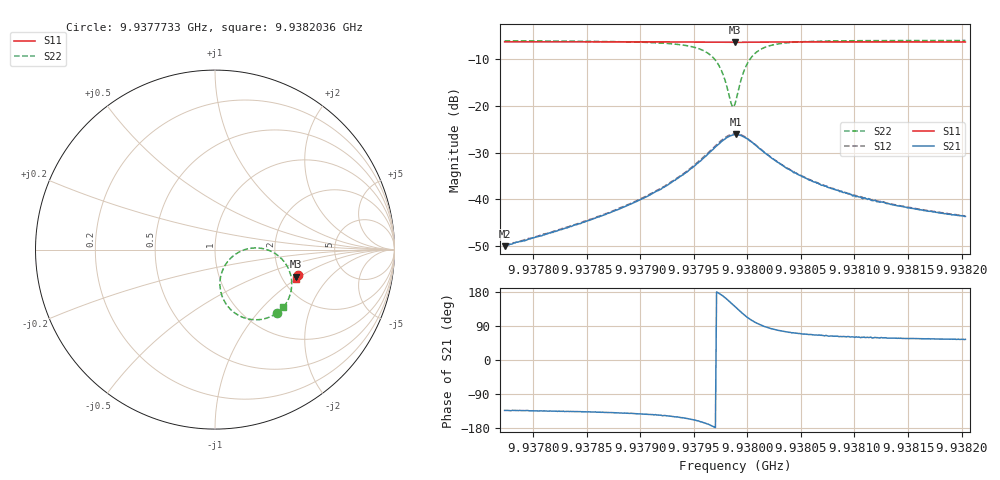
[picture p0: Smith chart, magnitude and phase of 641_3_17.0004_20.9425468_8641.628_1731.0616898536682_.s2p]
#  HZ  S  RI  R  50.00
! Rohde & Schwarz Vector Network Analyzer
! Rohde-Schwarz,ZNB20-2Port,1311601062101988,3.16
! Created: UTC 3/20/2024, 11:20:51 PM
! freq[Hz]  re:S11  im:S11  re:S21  im:S21  re:S12  im:S12  re:S22  im:S22
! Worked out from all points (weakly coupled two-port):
!   401 points, 9.9377733 GHz to 9.9382036 GHz, reference 50 ohm
!   highest |S21| = -26.14 dB at 9.9379895 GHz (marker M1); lowest = -50.0 dB at 9.9377733 GHz (marker M2)
!   lowest |S11| = -6.5 dB at 9.9379884 GHz (marker M3), VSWR 2.81, Z = 119 - j46.3 ohm
!   |S11| at or under -10 dB: nowhere
!   |S22| runs from -20.2 to -6.1 dB; largest |S21 - S12| = 0.0023
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9.93777333e9  0.461 -0.1393  -0.00216 -0.00231  -0.00221 -0.00234  0.3434 -0.354
9.93784539e9  0.459 -0.1443  -0.00409 -0.00386  -0.00418 -0.00384  0.3224 -0.3669
9.93788841e9  0.4577 -0.1474  -0.00667 -0.0055  -0.00683 -0.00551  0.2971 -0.3784
9.93791745e9  0.4564 -0.1495  -0.0103 -0.00711  -0.0106 -0.00705  0.2634 -0.3878
9.93794757e9  0.4546 -0.1519  -0.0197 -0.00852  -0.0201 -0.00829  0.1859 -0.3868
9.93796478e9  0.4527 -0.1529  -0.0315 -0.0049  -0.0323 -0.00436  0.0945 -0.3401
9.93797016e9  0.4519 -0.1529  -0.0363 -0.00101  -0.0373 -0.000159  0.0604 -0.3007
9.93797553e9  0.4511 -0.1525  -0.0409 0.00573  -0.042 0.00703  0.0333 -0.2392
9.93797876e9  0.4507 -0.1522  -0.0424 0.0111  -0.0435 0.0128  0.0274 -0.1913
9.93798521e9  0.4503 -0.1509  -0.0415 0.0246  -0.0418 0.0267  0.0575 -0.0852
9.93798629e9  0.4503 -0.1509  -0.0407 0.0267  -0.0408 0.0288  0.069 -0.0686
9.93798844e9  0.4503 -0.1503  -0.0382 0.0308  -0.0379 0.0331  0.0971 -0.0392
9.93798952e9  0.4505 -0.1502  -0.0368 0.0329  -0.0361 0.035  0.1129 -0.0266
9.93799489e9  0.4514 -0.1496  -0.0267 0.0393  -0.0256 0.041  0.2028 0.00784
9.93799812e9  0.4521 -0.1494  -0.0204 0.0407  -0.0192 0.0422  0.2554 0.00743
9.93800242e9  0.4529 -0.1496  -0.0127 0.04  -0.0115 0.041  0.3138 -0.0102
9.93800888e9  0.4537 -0.1502  -0.00464 0.0366  -0.00335 0.0371  0.3729 -0.0531
9.93802609e9  0.4547 -0.1524  0.00443 0.0255  0.0051 0.0256  0.4248 -0.1553
9.9380605e9  0.4541 -0.1559  0.00622 0.0143  0.0066 0.0144  0.4199 -0.2467
9.9381003e9  0.4532 -0.159  0.00559 0.00948  0.0056 0.00952  0.4043 -0.2857
9.93813256e9  0.4523 -0.1613  0.00475 0.00755  0.00493 0.00755  0.3948 -0.3018
9.93820355e9  0.4501 -0.166  0.00382 0.00534  0.00396 0.00533  0.3807 -0.3212
